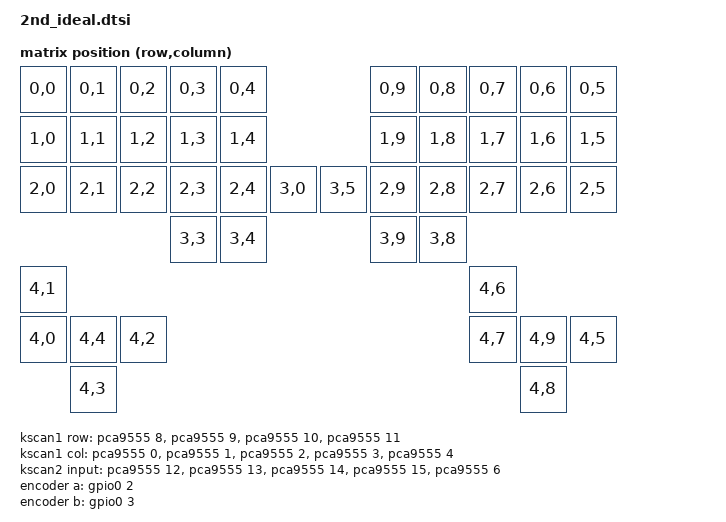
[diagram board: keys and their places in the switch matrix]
/*
 * Copyright (c) 2026 J. Korinth <jnsk@tuta.io>
 *
 * SPDX-License-Identifier: GPL-3.0-or-later
 */
#include <dt-bindings/zmk/matrix_transform.h>

/ {
	chosen {
		zmk,physical-layout = &physical_layout0;
		zmk,kscan = &kscan0;
	};

	physical_layout0: physicial_layout_0 {
		compatible = "zmk,physical-layout";
		display-name = "Default Layout";
		kscan = <&kscan0>;
		transform = <&default_transform>;
	};

	default_transform: keymap_transform_0 {
		compatible = "zmk,matrix-transform";
		rows = <4>;
		columns = <10>;
		map = <
RC(0,0) RC(0,1) RC(0,2) RC(0,3) RC(0,4)                RC(0,9) RC(0,8) RC(0,7) RC(0,6) RC(0,5)
RC(1,0) RC(1,1) RC(1,2) RC(1,3) RC(1,4)                RC(1,9) RC(1,8) RC(1,7) RC(1,6) RC(1,5)
RC(2,0) RC(2,1) RC(2,2) RC(2,3) RC(2,4) RC(3,0)RC(3,5) RC(2,9) RC(2,8) RC(2,7) RC(2,6) RC(2,5)
                        RC(3,3) RC(3,4)                RC(3,9) RC(3,8)
	RC(4,1)                                                                RC(4,6)
RC(4,0) RC(4,4) RC(4,2)                                                RC(4,7) RC(4,9) RC(4,5)
        RC(4,3)                                                                RC(4,8)
		>;
	};

	kscan0: kscan_composite {
		compatible = "zmk,kscan-composite";
		rows = <5>;
		columns = <10>;

		matrix {
			kscan = <&kscan1>;
		};

		direct {
			kscan = <&kscan2>;
			row-offset = <4>;
		};
	};

	kscan1: kscan_matrix {
		compatible = "zmk,kscan-gpio-matrix";
		wakeup-source;

		diode-direction = "row2col";
		poll-period-ms = <10>;
		row-gpios = <&pca9555 8 GPIO_ACTIVE_LOW>
		          , <&pca9555 9 GPIO_ACTIVE_LOW>
		          , <&pca9555 10 GPIO_ACTIVE_LOW>
		          , <&pca9555 11 GPIO_ACTIVE_LOW>
			  ;
		col-gpios = <&pca9555 0 GPIO_ACTIVE_LOW>
		          , <&pca9555 1 GPIO_ACTIVE_LOW>
		          , <&pca9555 2 GPIO_ACTIVE_LOW>
		          , <&pca9555 3 GPIO_ACTIVE_LOW>
		          , <&pca9555 4 GPIO_ACTIVE_LOW>
			  ;
	};

	kscan2: kscan_direct {
		compatible = "zmk,kscan-gpio-direct";
		wakeup-source;

		input-gpios = <&pca9555 12 GPIO_ACTIVE_LOW>
		            , <&pca9555 13 GPIO_ACTIVE_LOW>
		            , <&pca9555 14 GPIO_ACTIVE_LOW>
		            , <&pca9555 15 GPIO_ACTIVE_LOW>
		            , <&pca9555  6 GPIO_ACTIVE_LOW>
	            ;
	};

	encoder: encoder {
		compatible = "alps,ec11";
		a-gpios = <&gpio0 2 (GPIO_ACTIVE_LOW | GPIO_PULL_UP)>;
		b-gpios = <&gpio0 3 (GPIO_ACTIVE_LOW | GPIO_PULL_UP)>;
		steps = <80>;
		status = "okay";
	};

	sensors: sensors {
		compatible = "zmk,keymap-sensors";
		sensors = <&encoder>;
		triggers-per-rotation = <20>;
	};

	aliases {
		led-strip = &led_strip;
	};
};
